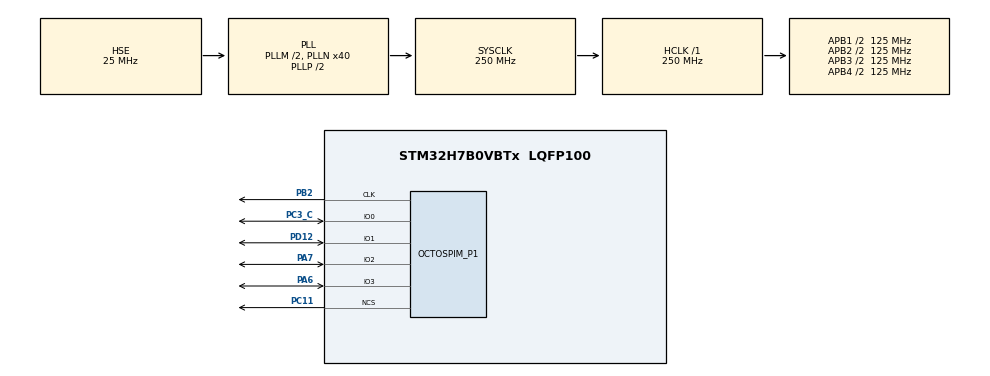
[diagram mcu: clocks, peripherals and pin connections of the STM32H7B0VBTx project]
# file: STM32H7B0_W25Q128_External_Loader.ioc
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CORTEX_M7.CPU_DCache=Enabled
CORTEX_M7.CPU_ICache=Enabled
Mcu.Family=STM32H7
Mcu.Name=STM32H7B0VBTx
Mcu.Package=LQFP100
NVIC.PriorityGroup=NVIC_PRIORITYGROUP_4
OCTOSPI1.ChipSelectHighTime=8
OCTOSPI1.ClockPrescaler=2
OCTOSPI1.DelayHoldQuarterCycle=HAL_OSPI_DHQC_DISABLE
OCTOSPI1.DeviceSize=24
OCTOSPI1.SampleShifting=HAL_OSPI_SAMPLE_SHIFTING_HALFCYCLE
OCTOSPI1.WrapSize=HAL_OSPI_WRAP_NOT_SUPPORTED
PA13.Mode=Serial_Wire
PA13.Signal=DEBUG_JTMS-SWDIO
PA14.Mode=Serial_Wire
PA14.Signal=DEBUG_JTCK-SWCLK
PA6.Mode=OCTOSPI1_IOL_Port1L
PA6.Signal=OCTOSPIM_P1_IO3
PA7.Mode=OCTOSPI1_IOL_Port1L
PA7.Signal=OCTOSPIM_P1_IO2
PB2.Mode=O1_P1_CLK
PB2.Signal=OCTOSPIM_P1_CLK
PC11.Mode=OCTOSPI1_Port1_NCS
PC11.Signal=OCTOSPIM_P1_NCS
PC3_C.Mode=OCTOSPI1_IOL_Port1L
PC3_C.Signal=OCTOSPIM_P1_IO0
PD12.Mode=OCTOSPI1_IOL_Port1L
PD12.Signal=OCTOSPIM_P1_IO1
PH0-OSC_IN.Mode=HSE-External-Oscillator
PH0-OSC_IN.Signal=RCC_OSC_IN
PH1-OSC_OUT.Mode=HSE-External-Oscillator
PH1-OSC_OUT.Signal=RCC_OSC_OUT
ProjectManager.HeapSize=0x200
ProjectManager.StackSize=0x400
ProjectManager.TargetToolchain=STM32CubeIDE
RCC.ADCFreq_Value=50390625
RCC.APB1Freq_Value=125000000
RCC.APB2Freq_Value=125000000
RCC.APB3Freq_Value=125000000
RCC.APB4Freq_Value=125000000
RCC.CDPPRE=RCC_APB3_DIV2
RCC.CDPPRE1=RCC_APB1_DIV2
RCC.CDPPRE2=RCC_APB2_DIV2
RCC.CortexFreq_Value=250000000
RCC.DIVM1=2
RCC.DIVN1=40
RCC.EnbaleCSS=true
RCC.HCLKFreq_Value=250000000
RCC.HSE_VALUE=25000000
RCC.PLLFRACN=0
RCC.PLLSourceVirtual=RCC_PLLSOURCE_HSE
RCC.SRDPPRE=RCC_APB4_DIV2
RCC.SYSCLKFreq_VALUE=250000000
RCC.SYSCLKSource=RCC_SYSCLKSOURCE_PLLCLK
RCC.USBFreq_Value=250000000
VP_OCTOSPI1_VS_quad.Mode=quad_mode
board=custom

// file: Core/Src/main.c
/* USER CODE BEGIN Header */
/**
  ******************************************************************************
  * @file           : main.c
  * @brief          : Main program body
  ******************************************************************************
  * @attention
  *
  * Copyright (c) 2022 STMicroelectronics.
  * All rights reserved.
  *
  * This software is licensed under terms that can be found in the LICENSE file
  * in the root directory of this software component.
  * If no LICENSE file comes with this software, it is provided AS-IS.
  *
  ******************************************************************************
  */
/* USER CODE END Header */
#include "main.h"
#include "octospi.h"
#include "gpio.h"

/* USER CODE BEGIN Includes */
#include "W25Q128.h"
#include "stdio.h"
#include "stdlib.h"
#include "string.h"
/* USER CODE END Includes */

void SystemClock_Config(void);

/* USER CODE BEGIN 0 */
uint8_t txbuf[] = "TEST";
uint8_t txbuf2[] = "A";

HAL_StatusTypeDef ret=0;
uint8_t rxbuf[100];
/* USER CODE END 0 */

int main(void)
{

  /* Enable I-Cache---------------------------------------------------------*/
  SCB_EnableICache();

  /* Enable D-Cache---------------------------------------------------------*/
  SCB_EnableDCache();

  /* MCU Configuration--------------------------------------------------------*/

  /* Reset of all peripherals, Initializes the Flash interface and the Systick. */
  HAL_Init();

  /* Configure the system clock */
  SystemClock_Config();

  /* Initialize all configured peripherals */
  MX_GPIO_Init();
  MX_OCTOSPI1_Init();
  /* USER CODE BEGIN 2 */

  ret=W25Q128_OCTO_SPI_Init(&hospi1);
  ret=W25Q128_OSPI_Erase_Chip(&hospi1);
  //ret=W25Q128_OSPI_EraseSector(&hospi1,0,0x7FFFFF);
  //ret=W25Q128_OSPI_EraseSector(&hospi1,0x800000,0xFFFFFF);
  ret=W25Q128_OSPI_Read(&hospi1, rxbuf, 0, 100);
  ret=W25Q128_OSPI_Write(&hospi1,txbuf,0,sizeof(txbuf));
  ret=W25Q128_OSPI_Read(&hospi1, rxbuf, 0, 100);
  ret=W25Q128_OSPI_EnableMemoryMappedMode(&hospi1);
  HAL_Delay(1000);

  /* USER CODE END 2 */

  /* Infinite loop */
  while (1)
  {

  }
}

void SystemClock_Config(void)
{
  RCC_OscInitTypeDef RCC_OscInitStruct = {0};
  RCC_ClkInitTypeDef RCC_ClkInitStruct = {0};

  /*AXI clock gating */
  RCC->CKGAENR = 0xFFFFFFFF;

  /** Supply configuration update enable
  */
  HAL_PWREx_ConfigSupply(PWR_LDO_SUPPLY);

  /** Configure the main internal regulator output voltage
  */
  __HAL_PWR_VOLTAGESCALING_CONFIG(PWR_REGULATOR_VOLTAGE_SCALE0);

  while(!__HAL_PWR_GET_FLAG(PWR_FLAG_VOSRDY)) {}

  /** Initializes the RCC Oscillators according to the specified parameters
  * in the RCC_OscInitTypeDef structure.
  */
  RCC_OscInitStruct.OscillatorType = RCC_OSCILLATORTYPE_HSE;
  RCC_OscInitStruct.HSEState = RCC_HSE_ON;
  RCC_OscInitStruct.PLL.PLLState = RCC_PLL_ON;
  RCC_OscInitStruct.PLL.PLLSource = RCC_PLLSOURCE_HSE;
  RCC_OscInitStruct.PLL.PLLM = 2;
  RCC_OscInitStruct.PLL.PLLN = 40;
  RCC_OscInitStruct.PLL.PLLP = 2;
  RCC_OscInitStruct.PLL.PLLQ = 2;
  RCC_OscInitStruct.PLL.PLLR = 2;
  RCC_OscInitStruct.PLL.PLLRGE = RCC_PLL1VCIRANGE_3;
  RCC_OscInitStruct.PLL.PLLVCOSEL = RCC_PLL1VCOWIDE;
  RCC_OscInitStruct.PLL.PLLFRACN = 0;
  if (HAL_RCC_OscConfig(&RCC_OscInitStruct) != HAL_OK)
  {
    Error_Handler();
  }

  /** Initializes the CPU, AHB and APB buses clocks
  */
  RCC_ClkInitStruct.ClockType = RCC_CLOCKTYPE_HCLK|RCC_CLOCKTYPE_SYSCLK
                              |RCC_CLOCKTYPE_PCLK1|RCC_CLOCKTYPE_PCLK2
                              |RCC_CLOCKTYPE_D3PCLK1|RCC_CLOCKTYPE_D1PCLK1;
  RCC_ClkInitStruct.SYSCLKSource = RCC_SYSCLKSOURCE_PLLCLK;
  RCC_ClkInitStruct.SYSCLKDivider = RCC_SYSCLK_DIV1;
  RCC_ClkInitStruct.AHBCLKDivider = RCC_HCLK_DIV1;
  RCC_ClkInitStruct.APB3CLKDivider = RCC_APB3_DIV2;
  RCC_ClkInitStruct.APB1CLKDivider = RCC_APB1_DIV2;
  RCC_ClkInitStruct.APB2CLKDivider = RCC_APB2_DIV2;
  RCC_ClkInitStruct.APB4CLKDivider = RCC_APB4_DIV2;

  if (HAL_RCC_ClockConfig(&RCC_ClkInitStruct, FLASH_LATENCY_5) != HAL_OK)
  {
    Error_Handler();
  }

  /** Enables the Clock Security System
  */
  HAL_RCC_EnableCSS();
}

void Error_Handler(void)
{
  __disable_irq();
  while (1)
  {
  }
}
